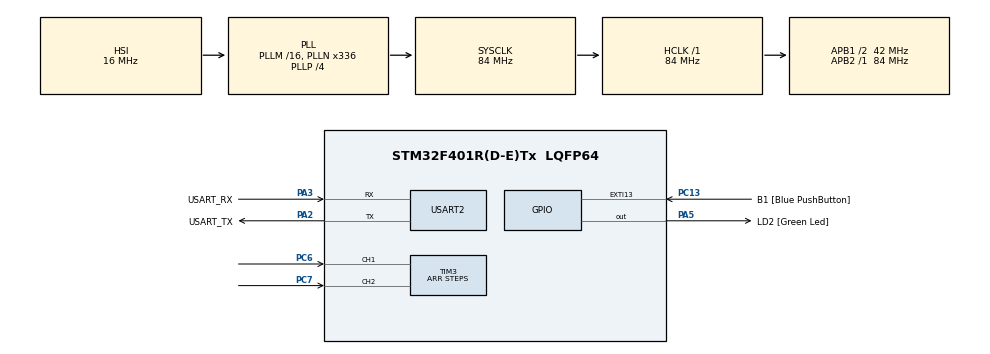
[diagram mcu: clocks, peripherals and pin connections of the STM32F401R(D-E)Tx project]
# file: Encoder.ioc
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Dma.Request0=USART2_TX
Dma.USART2_TX.0.Direction=DMA_MEMORY_TO_PERIPH
Dma.USART2_TX.0.FIFOMode=DMA_FIFOMODE_DISABLE
Dma.USART2_TX.0.Instance=DMA1_Stream6
Dma.USART2_TX.0.MemDataAlignment=DMA_MDATAALIGN_BYTE
Dma.USART2_TX.0.MemInc=DMA_MINC_ENABLE
Dma.USART2_TX.0.Mode=DMA_NORMAL
Dma.USART2_TX.0.PeriphDataAlignment=DMA_PDATAALIGN_BYTE
Dma.USART2_TX.0.PeriphInc=DMA_PINC_DISABLE
Dma.USART2_TX.0.Priority=DMA_PRIORITY_LOW
Mcu.Family=STM32F4
Mcu.Name=STM32F401R(D-E)Tx
Mcu.Package=LQFP64
NVIC.DMA1_Stream6_IRQn=true\:0\:0\:false\:false\:true\:false\:true\:true
NVIC.PriorityGroup=NVIC_PRIORITYGROUP_0
NVIC.TIM2_IRQn=true\:0\:0\:false\:false\:true\:true\:true\:true
NVIC.USART2_IRQn=true\:0\:0\:false\:false\:true\:true\:true\:true
PA13.GPIO_Label=TMS
PA13.Mode=Serial_Wire
PA13.Signal=SYS_JTMS-SWDIO
PA14.GPIO_Label=TCK
PA14.Mode=Serial_Wire
PA14.Signal=SYS_JTCK-SWCLK
PA2.GPIO_Label=USART_TX
PA2.GPIO_Mode=GPIO_MODE_AF_PP
PA2.GPIO_PuPd=GPIO_NOPULL
PA2.GPIO_Speed=GPIO_SPEED_FREQ_LOW
PA2.Mode=Asynchronous
PA2.Signal=USART2_TX
PA3.GPIO_Label=USART_RX
PA3.GPIO_Mode=GPIO_MODE_AF_PP
PA3.GPIO_PuPd=GPIO_NOPULL
PA3.GPIO_Speed=GPIO_SPEED_FREQ_LOW
PA3.Mode=Asynchronous
PA3.Signal=USART2_RX
PA5.GPIO_Label=LD2 [Green Led]
PA5.GPIO_Mode=GPIO_MODE_OUTPUT_PP
PA5.GPIO_PuPd=GPIO_NOPULL
PA5.GPIO_Speed=GPIO_SPEED_FREQ_LOW
PA5.Signal=GPIO_Output
PB3.GPIO_Label=SWO
PB3.Signal=SYS_JTDO-SWO
PC13-ANTI_TAMP.GPIO_Label=B1 [Blue PushButton]
PC13-ANTI_TAMP.GPIO_ModeDefaultEXTI=GPIO_MODE_IT_FALLING
PC13-ANTI_TAMP.GPIO_PuPd=GPIO_NOPULL
PC13-ANTI_TAMP.Signal=GPXTI13
PC14-OSC32_IN.Mode=LSE-External-Oscillator
PC14-OSC32_IN.Signal=RCC_OSC32_IN
PC15-OSC32_OUT.Mode=LSE-External-Oscillator
PC15-OSC32_OUT.Signal=RCC_OSC32_OUT
PC6.Signal=S_TIM3_CH1
PC7.Signal=S_TIM3_CH2
PH0\ -\ OSC_IN.Mode=HSE-External-Clock-Source
PH0\ -\ OSC_IN.Signal=RCC_OSC_IN
PH1\ -\ OSC_OUT.Mode=HSE-External-Clock-Source
PH1\ -\ OSC_OUT.Signal=RCC_OSC_OUT
ProjectManager.HeapSize=0x200
ProjectManager.StackSize=0x400
ProjectManager.TargetToolchain=STM32CubeIDE
RCC.48MHZClocksFreq_Value=48000000
RCC.AHBFreq_Value=84000000
RCC.APB1CLKDivider=RCC_HCLK_DIV2
RCC.APB1Freq_Value=42000000
RCC.APB1TimFreq_Value=84000000
RCC.APB2Freq_Value=84000000
RCC.APB2TimFreq_Value=84000000
RCC.CortexFreq_Value=84000000
RCC.HCLKFreq_Value=84000000
RCC.HSE_VALUE=8000000
RCC.HSI_VALUE=16000000
RCC.PLLN=336
RCC.PLLP=RCC_PLLP_DIV4
RCC.PLLQ=7
RCC.SYSCLKFreq_VALUE=84000000
RCC.SYSCLKSource=RCC_SYSCLKSOURCE_PLLCLK
RCC.VCOOutputFreq_Value=336000000
SH.S_TIM3_CH1.0=TIM3_CH1,Encoder_Interface
SH.S_TIM3_CH2.0=TIM3_CH2,Encoder_Interface
TIM2.Period=(TEMPO*10)-1
TIM2.Prescaler=8400 - 1
TIM3.ClockDivision=TIM_CLOCKDIVISION_DIV4
TIM3.IC1Filter=15
TIM3.IC1Polarity=TIM_ICPOLARITY_FALLING
TIM3.IC2Filter=15
TIM3.Period=STEPS
USART2.VirtualMode=VM_ASYNC
VP_TIM2_VS_ClockSourceINT.Mode=Internal
board=NUCLEO-F401RE

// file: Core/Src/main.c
/* USER CODE BEGIN Header */
/**
  ******************************************************************************
  * @file           : main.c
  * @brief          : Main program body
  ******************************************************************************
  * @attention
  *
  * Copyright (c) 2024 STMicroelectronics.
  * All rights reserved.
  *
  * This software is licensed under terms that can be found in the LICENSE file
  * in the root directory of this software component.
  * If no LICENSE file comes with this software, it is provided AS-IS.
  *
  ******************************************************************************
  */
/* USER CODE END Header */
#include "main.h"

/* USER CODE BEGIN PD */
#define TEMPO 1000
#define STEPS 65535 //Timer3 counter period
/* USER CODE END PD */

TIM_HandleTypeDef htim2;
TIM_HandleTypeDef htim3;

UART_HandleTypeDef huart2;
DMA_HandleTypeDef hdma_usart2_tx;

/* USER CODE BEGIN PV */
uint16_t new_position = 0; //The newest acquired encoder position value
uint16_t old_position = 0; //Old acquired encoder position value
int16_t  delta = 0;

float    rpm = 0;		   //Round per Minutes, Final result of encoder velocity in rotations per minute

char    string[64]    = {0}; //String that has to be sent via UART
uint8_t string_length = 0;

/* USER CODE END PV */

void SystemClock_Config(void);
static void MX_GPIO_Init(void);
static void MX_DMA_Init(void);
static void MX_USART2_UART_Init(void);
static void MX_TIM3_Init(void);
static void MX_TIM2_Init(void);

/* USER CODE BEGIN 0 */
void HAL_TIM_PeriodElapsedCallback(TIM_HandleTypeDef *htim)
{
	if(htim == &htim2)
	{
		old_position = new_position; //Save last position into the "old" variable

		new_position = (uint16_t) __HAL_TIM_GET_COUNTER(&htim3); //Get the new position

		delta = new_position - old_position;

		rpm = (delta/24.0)*60;	    //Compute the rpm value

		string_length = snprintf(string, sizeof(string), "position: %d, rpm: %.1f \n", new_position, rpm);

		HAL_UART_Transmit_DMA(&huart2, string, string_length);	//Send the string via UART to PC;
	}
}
/* USER CODE END 0 */

int main(void)
{

  /* MCU Configuration--------------------------------------------------------*/

  /* Reset of all peripherals, Initializes the Flash interface and the Systick. */
  HAL_Init();

  /* Configure the system clock */
  SystemClock_Config();

  /* Initialize all configured peripherals */
  MX_GPIO_Init();
  MX_DMA_Init();
  MX_USART2_UART_Init();
  MX_TIM3_Init();
  MX_TIM2_Init();
  /* USER CODE BEGIN 2 */

  HAL_TIM_Base_Start_IT(&htim2);
  HAL_TIM_Encoder_Start(&htim3, TIM_CHANNEL_ALL);

  /* USER CODE END 2 */

  /* Infinite loop */
  while (1)
  {

  }
}

void SystemClock_Config(void)
{
  RCC_OscInitTypeDef RCC_OscInitStruct = {0};
  RCC_ClkInitTypeDef RCC_ClkInitStruct = {0};

  /** Configure the main internal regulator output voltage
  */
  __HAL_RCC_PWR_CLK_ENABLE();
  __HAL_PWR_VOLTAGESCALING_CONFIG(PWR_REGULATOR_VOLTAGE_SCALE2);

  /** Initializes the RCC Oscillators according to the specified parameters
  * in the RCC_OscInitTypeDef structure.
  */
  RCC_OscInitStruct.OscillatorType = RCC_OSCILLATORTYPE_HSI;
  RCC_OscInitStruct.HSIState = RCC_HSI_ON;
  RCC_OscInitStruct.HSICalibrationValue = RCC_HSICALIBRATION_DEFAULT;
  RCC_OscInitStruct.PLL.PLLState = RCC_PLL_ON;
  RCC_OscInitStruct.PLL.PLLSource = RCC_PLLSOURCE_HSI;
  RCC_OscInitStruct.PLL.PLLM = 16;
  RCC_OscInitStruct.PLL.PLLN = 336;
  RCC_OscInitStruct.PLL.PLLP = RCC_PLLP_DIV4;
  RCC_OscInitStruct.PLL.PLLQ = 7;
  if (HAL_RCC_OscConfig(&RCC_OscInitStruct) != HAL_OK)
  {
    Error_Handler();
  }

  /** Initializes the CPU, AHB and APB buses clocks
  */
  RCC_ClkInitStruct.ClockType = RCC_CLOCKTYPE_HCLK|RCC_CLOCKTYPE_SYSCLK
                              |RCC_CLOCKTYPE_PCLK1|RCC_CLOCKTYPE_PCLK2;
  RCC_ClkInitStruct.SYSCLKSource = RCC_SYSCLKSOURCE_PLLCLK;
  RCC_ClkInitStruct.AHBCLKDivider = RCC_SYSCLK_DIV1;
  RCC_ClkInitStruct.APB1CLKDivider = RCC_HCLK_DIV2;
  RCC_ClkInitStruct.APB2CLKDivider = RCC_HCLK_DIV1;

  if (HAL_RCC_ClockConfig(&RCC_ClkInitStruct, FLASH_LATENCY_2) != HAL_OK)
  {
    Error_Handler();
  }
}

static void MX_TIM2_Init(void)
{

  TIM_ClockConfigTypeDef sClockSourceConfig = {0};
  TIM_MasterConfigTypeDef sMasterConfig = {0};

  htim2.Instance = TIM2;
  htim2.Init.Prescaler = 8400 - 1;
  htim2.Init.CounterMode = TIM_COUNTERMODE_UP;
  htim2.Init.Period = (TEMPO*10)-1;
  htim2.Init.ClockDivision = TIM_CLOCKDIVISION_DIV1;
  htim2.Init.AutoReloadPreload = TIM_AUTORELOAD_PRELOAD_DISABLE;
  if (HAL_TIM_Base_Init(&htim2) != HAL_OK)
  {
    Error_Handler();
  }
  sClockSourceConfig.ClockSource = TIM_CLOCKSOURCE_INTERNAL;
  if (HAL_TIM_ConfigClockSource(&htim2, &sClockSourceConfig) != HAL_OK)
  {
    Error_Handler();
  }
  sMasterConfig.MasterOutputTrigger = TIM_TRGO_RESET;
  sMasterConfig.MasterSlaveMode = TIM_MASTERSLAVEMODE_DISABLE;
  if (HAL_TIMEx_MasterConfigSynchronization(&htim2, &sMasterConfig) != HAL_OK)
  {
    Error_Handler();
  }

}

static void MX_TIM3_Init(void)
{

  TIM_Encoder_InitTypeDef sConfig = {0};
  TIM_MasterConfigTypeDef sMasterConfig = {0};

  htim3.Instance = TIM3;
  htim3.Init.Prescaler = 0;
  htim3.Init.CounterMode = TIM_COUNTERMODE_UP;
  htim3.Init.Period = STEPS;
  htim3.Init.ClockDivision = TIM_CLOCKDIVISION_DIV4;
  htim3.Init.AutoReloadPreload = TIM_AUTORELOAD_PRELOAD_DISABLE;
  sConfig.EncoderMode = TIM_ENCODERMODE_TI1;
  sConfig.IC1Polarity = TIM_ICPOLARITY_FALLING;
  sConfig.IC1Selection = TIM_ICSELECTION_DIRECTTI;
  sConfig.IC1Prescaler = TIM_ICPSC_DIV1;
  sConfig.IC1Filter = 15;
  sConfig.IC2Polarity = TIM_ICPOLARITY_RISING;
  sConfig.IC2Selection = TIM_ICSELECTION_DIRECTTI;
  sConfig.IC2Prescaler = TIM_ICPSC_DIV1;
  sConfig.IC2Filter = 15;
  if (HAL_TIM_Encoder_Init(&htim3, &sConfig) != HAL_OK)
  {
    Error_Handler();
  }
  sMasterConfig.MasterOutputTrigger = TIM_TRGO_RESET;
  sMasterConfig.MasterSlaveMode = TIM_MASTERSLAVEMODE_DISABLE;
  if (HAL_TIMEx_MasterConfigSynchronization(&htim3, &sMasterConfig) != HAL_OK)
  {
    Error_Handler();
  }

}

static void MX_USART2_UART_Init(void)
{

  huart2.Instance = USART2;
  huart2.Init.BaudRate = 115200;
  huart2.Init.WordLength = UART_WORDLENGTH_8B;
  huart2.Init.StopBits = UART_STOPBITS_1;
  huart2.Init.Parity = UART_PARITY_NONE;
  huart2.Init.Mode = UART_MODE_TX_RX;
  huart2.Init.HwFlowCtl = UART_HWCONTROL_NONE;
  huart2.Init.OverSampling = UART_OVERSAMPLING_16;
  if (HAL_UART_Init(&huart2) != HAL_OK)
  {
    Error_Handler();
  }

}

static void MX_DMA_Init(void)
{

  /* DMA controller clock enable */
  __HAL_RCC_DMA1_CLK_ENABLE();

  /* DMA interrupt init */
  /* DMA1_Stream6_IRQn interrupt configuration */
  HAL_NVIC_SetPriority(DMA1_Stream6_IRQn, 0, 0);
  HAL_NVIC_EnableIRQ(DMA1_Stream6_IRQn);

}

static void MX_GPIO_Init(void)
{
  GPIO_InitTypeDef GPIO_InitStruct = {0};

  /* GPIO Ports Clock Enable */
  __HAL_RCC_GPIOC_CLK_ENABLE();
  __HAL_RCC_GPIOH_CLK_ENABLE();
  __HAL_RCC_GPIOA_CLK_ENABLE();
  __HAL_RCC_GPIOB_CLK_ENABLE();

  /*Configure GPIO pin Output Level */
  HAL_GPIO_WritePin(LD2_GPIO_Port, LD2_Pin, GPIO_PIN_RESET);

  /*Configure GPIO pin : B1_Pin */
  GPIO_InitStruct.Pin = B1_Pin;
  GPIO_InitStruct.Mode = GPIO_MODE_IT_FALLING;
  GPIO_InitStruct.Pull = GPIO_NOPULL;
  HAL_GPIO_Init(B1_GPIO_Port, &GPIO_InitStruct);

  /*Configure GPIO pin : LD2_Pin */
  GPIO_InitStruct.Pin = LD2_Pin;
  GPIO_InitStruct.Mode = GPIO_MODE_OUTPUT_PP;
  GPIO_InitStruct.Pull = GPIO_NOPULL;
  GPIO_InitStruct.Speed = GPIO_SPEED_FREQ_LOW;
  HAL_GPIO_Init(LD2_GPIO_Port, &GPIO_InitStruct);

}

void Error_Handler(void)
{
  __disable_irq();
  while (1)
  {
  }
}
